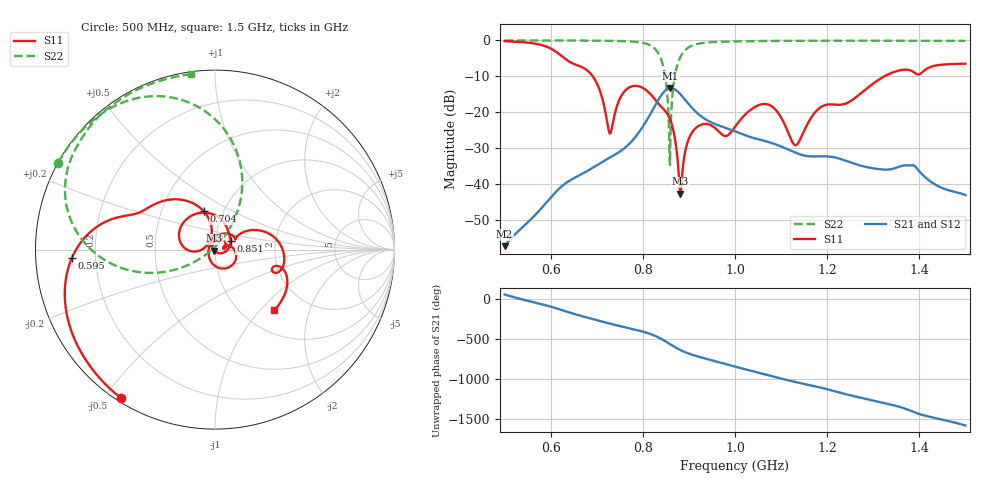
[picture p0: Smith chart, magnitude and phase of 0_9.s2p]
! TOUCHSTONE file generated by CST MICROWAVE STUDIO
! Date and time: Sat Oct 24 11:12:12 2020
! Project name: Scenario_1_Circular_Tissue_in_Line.cst
! Parameters = {L_HA=400; MT=2.54; Rad_Dielectric=30; Rad_Lower=7.3; Rad_Upper=30; a_HA=580; a_WG=246; b_HA=500; b_WG=121; c_HA=0; c_WG=187; d_feed=85; dx1=311.56; h_feed=15; h_lower=18; h_upper=40}
! Header version: 2018
! Port assignment regex: !\s*Touchstone port\s*([0-9]+)\s*=\s*(CST MWS port|CST DS port)\s*([0-9]+|Zmin|Zmax)\s*\(\"(.*)\"\)(\s*mode\s*([0-9]+))?.*
! Touchstone port assignment:
! Touchstone port 1 = CST MWS port 1 ("")
! Touchstone port 2 = CST MWS port 2 ("")
# GHz S DB R 50
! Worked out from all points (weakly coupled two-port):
!   1003 points, 500 MHz to 1.5 GHz, reference 50 ohm
!   highest |S21| = -13.29 dB at 860 MHz (marker M1); lowest = -57.4 dB at 500 MHz (marker M2)
!   lowest |S11| = -42.8 dB at 881 MHz (marker M3), VSWR 1.01, Z = 49.6 - j0.569 ohm
!   |S11| at or under -10 dB: 691.2 MHz to 1.324 GHz (633.2 MHz wide, 62.8 % of centre)
!   |S22| runs from -34.7 to 0.0 dB; largest |S21 - S12| = 0.00017
!   S11 on the Smith chart (normalised r, x): 500 MHz: 0.01, -0.55; 595 MHz: 0.11, -0.03; 704 MHz: 0.81, +0.36; 851 MHz: 1.18, +0.11; 1.5 GHz: 1.38, -1.20
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0.5  -0.18 -122.5  -57.43 55.6  -57.43 55.6  -0.01 151.1
0.595  -1.94 -176.5  -44.62 -86.9  -44.62 -86.9  -0.02 144.5
0.667  -7.42 144.4  -37.34 147.3  -37.34 147.3  -0.04 138.3
0.704  -13.08 106.3  -34.54 90.1  -34.54 90.1  -0.07 134.3
0.729  -26.00 146.5  -32.67 52.0  -32.67 52.0  -0.10 131.0
0.77  -13.15 155.3  -28.93 -3.6  -28.93 -3.6  -0.26 123.0
0.813  -14.52 87.8  -21.31 -69.6  -21.31 -69.6  -1.19 104.8
0.834  -17.66 57.1  -16.54 -119.4  -16.54 -119.4  -3.68 84.3
0.851  -20.10 28.5  -13.74 -174.4  -13.74 -174.4  -12.45 59.2
0.855  -20.91 18.8  -13.44 171.4  -13.44 171.4  -18.91 55.1
0.86  -22.36 4.7  -13.29 153.5  -13.29 153.5  -26.50 -153.2
0.868  -26.29 -21.5  -13.55 125.7  -13.55 125.7  -10.94 -155.0
0.881  -42.81 -127.5  -14.94 85.0  -14.94 85.0  -4.76 -172.0
0.897  -28.43 104.7  -17.38 45.0  -17.38 45.0  -2.14 172.3
0.914  -24.56 69.1  -19.79 12.1  -19.79 12.0  -1.12 161.4
1  -24.13 21.4  -25.35 -122.6  -25.35 -122.6  -0.29 140.1
1.071  -17.86 -46.4  -28.29 131.5  -28.29 131.5  -0.15 132.3
1.132  -29.26 163.8  -31.38 43.5  -31.38 43.5  -0.10 126.9
1.167  -21.23 72.0  -32.39 1.1  -32.39 1.1  -0.10 124.1
1.334  -9.38 11.2  -36.02 128.6  -36.00 128.5  -0.09 111.4
1.387  -8.79 -20.9  -34.85 34.1  -34.92 34.0  -0.10 107.3
1.5  -6.49 -45.7  -43.16 -137.2  -43.16 -137.2  -0.13 97.8
